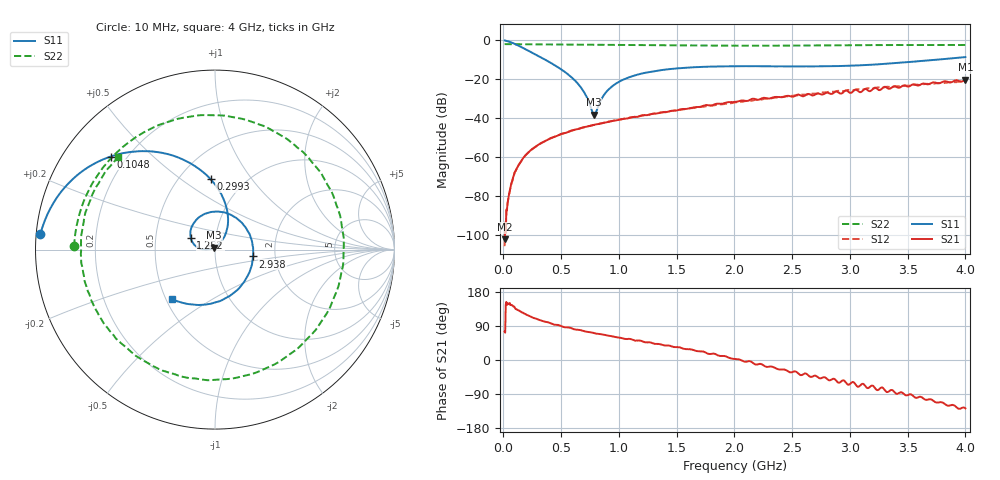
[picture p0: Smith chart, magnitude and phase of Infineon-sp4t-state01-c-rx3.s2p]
! 5/5/2016 5:08:01 PM
! C:\ANRITSUVNA\DATA\INFINEON-SP4T-STATE01-C-RX3.S2P
! CHANNEL.1
! TR.MEASUREMENT
! CORRECTED.DATA
# GHZ S RI R 50.0
! FREQ.GHZ  S11RE  S11IM  S21RE  S21IM  S12RE  S12IM  S22RE  S22IM
!; PortSelection: Port_12
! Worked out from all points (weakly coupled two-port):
!   801 points, 10 MHz to 4 GHz, reference 50 ohm
!   highest |S21| = -20.33 dB at 4 GHz (marker M1); lowest = -102.4 dB at 10 MHz (marker M2)
!   lowest |S11| = -38.4 dB at 783.1 MHz (marker M3), VSWR 1.02, Z = 49.5 + j1.1 ohm
!   |S11| at or under -10 dB: 358.1 MHz to 3.769 GHz (3.411 GHz wide, 165 % of centre)
!   |S22| runs from -2.9 to -2.1 dB; largest |S21 - S12| = 0.013
!   S11 on the Smith chart (normalised r, x): 10 MHz: 0.01, +0.05; 104.8 MHz: 0.14, +0.37; 299.3 MHz: 0.70, +0.65; 1.252 GHz: 0.76, +0.10; 2.938 GHz: 1.53, -0.12; 4 GHz: 0.54, -0.34
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0.01  -0.973 0.0885  2e-06 7.3e-06  2.9e-06 -4.1e-06  -0.7878 0.0218
0.0449125  -0.8612 0.3173  -7.97e-05 5.14e-05  -8.28e-05 4.13e-05  -0.782 0.0597
0.1047625  -0.5811 0.5187  -0.000303 0.000307  -0.000303 0.000305  -0.7703 0.1357
0.1845625  -0.2636 0.5322  -0.000548 0.000878  -0.000545 0.000879  -0.7443 0.2338
0.299275  -0.0248 0.3924  -0.00059 0.00191  -0.000582 0.00191  -0.6865 0.3638
0.538675  0.0699 0.1286  0.000266 0.0041  0.000218 0.00415  -0.4897 0.5912
0.678325  0.0345 0.0442  0.00116 0.00543  0.00115 0.00538  -0.3428 0.6805
0.7830625  -0.00483 0.0111  0.00214 0.00627  0.00208 0.00626  -0.2193 0.7249
0.8030125  -0.0126 0.00718  0.00236 0.00636  0.0023 0.00641  -0.1955 0.7312
0.8728375  -0.0397 -0.000465  0.00304 0.0069  0.00303 0.00693  -0.1077 0.7456
0.9526375  -0.0686 0.000606  0.004 0.00741  0.00399 0.00745  -0.00703 0.7483
1.082313  -0.1073 0.0192  0.00552 0.00812  0.00568 0.00818  0.1538 0.7279
1.251888  -0.1346 0.0629  0.00812 0.00869  0.00848 0.00855  0.3537 0.6443
1.341662  -0.1374 0.0914  0.00973 0.00889  0.0102 0.00868  0.4476 0.5793
1.690788  -0.0803 0.1857  0.0176 0.00738  0.0175 0.00692  0.6936 0.202
2.005  0.0251 0.2111  0.0256 0.00115  0.0248 0.00188  0.6853 -0.2125
2.389038  0.1485 0.1508  0.031 -0.0145  0.0318 -0.0113  0.3686 -0.6179
2.673325  0.2011 0.062  0.0272 -0.0263  0.0325 -0.0266  -0.000206 -0.7257
2.937663  0.2122 -0.0381  0.026 -0.0356  0.0261 -0.0412  -0.347 -0.6474
3.336663  0.1463 -0.2006  0.00663 -0.0556  0.00417 -0.0625  -0.6949 -0.2639
3.690775  -0.0231 -0.3015  -0.0175 -0.0729  -0.0259 -0.0693  -0.7266 0.1868
4  -0.239 -0.276  -0.0587 -0.0763  -0.0569 -0.0635  -0.5395 0.5181
